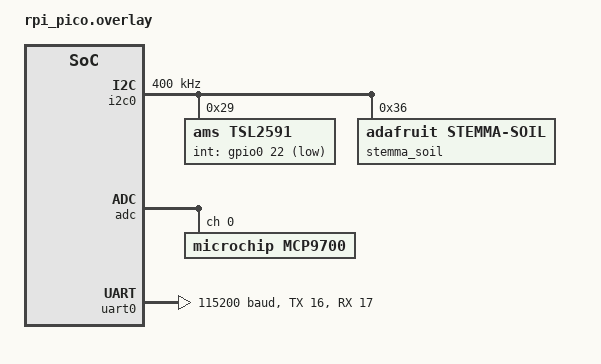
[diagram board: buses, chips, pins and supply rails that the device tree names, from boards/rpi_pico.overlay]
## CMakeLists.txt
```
# SPDX-License-Identifier: Apache-2.0

cmake_minimum_required(VERSION 3.20.0)

find_package(Zephyr REQUIRED HINTS $ENV{ZEPHYR_BASE})
project(sensor_node)

target_sources(app PRIVATE
  src/main.c
  src/mcp9700.c
)

target_include_directories(app PRIVATE src)
```

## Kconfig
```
# Kconfig - Smart Gardening System Sensor Node configuration

# Copyright (c) 2022 Smart Gardening System Project
# SPDX-License-Identifier: Apache-2.0

mainmenu "Smart Gardening System Sensor Node Configuration"

menu "Sensor Configuration"

config SENSOR_NODE_LIGHT_THRESHOLD_LOW
	int "Default light low threshold (in lux x 100)"
	default 5000
	help
	  Default low threshold for light sensor in lux x 100.
	  This threshold triggers a low light interrupt if the measured
	  value falls below it.

config SENSOR_NODE_LIGHT_THRESHOLD_HIGH
	int "Default light high threshold (in lux x 100)"
	default 50000
	help
	  Default high threshold for light sensor in lux x 100.
	  This threshold triggers a high light interrupt if the measured
	  value rises above it.

config SENSOR_NODE_TEMP_THRESHOLD_HIGH
	int "Default temperature high threshold (in Celsius x 100)"
	default 3000
	help
	  Default high threshold for temperature sensor in Celsius x 100.
	  This threshold triggers a high temperature interrupt if the measured
	  value rises above it.

config SENSOR_NODE_SOIL_THRESHOLD_LOW
	int "Default soil moisture low threshold (in percent x 100)"
	default 30000
	help
	  Default low threshold for soil moisture sensor in percent x 100.
	  This threshold triggers a low soil moisture interrupt if the measured
	  value falls below it.

config SENSOR_NODE_LIGHT_SAMPLING_PERIOD
	int "Light sensor sampling period (in milliseconds)"
	default 5000
	help
	  Period in milliseconds between consecutive light sensor readings.

config SENSOR_NODE_TEMP_SAMPLING_PERIOD
	int "Temperature sensor sampling period (in milliseconds)"
	default 2000
	help
	  Period in milliseconds between consecutive temperature sensor readings.

config SENSOR_NODE_SOIL_SAMPLING_PERIOD
	int "Soil moisture sensor sampling period (in milliseconds)"
	default 10000
	help
	  Period in milliseconds between consecutive soil moisture sensor readings.

endmenu

menu "Communication Configuration"

config SENSOR_NODE_UART_BAUDRATE
	int "UART baudrate"
	default 115200
	help
	  UART baudrate for communication with the base node.

endmenu

source "Kconfig.zephyr"
```

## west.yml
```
manifest:
  remotes:
    - name: zephyrproject-rtos
      url-base: https://github.com/zephyrproject-rtos

  projects:
    - name: zephyr
      remote: zephyrproject-rtos
      revision: main
      import: true

  self:
    path: sensor_node_zephyr
```

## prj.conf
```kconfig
# Enable peripherals
CONFIG_I2C=y
CONFIG_ADC=y
CONFIG_UART=y
CONFIG_UART_INTERRUPT_DRIVEN=y
CONFIG_SERIAL=y
CONFIG_CONSOLE=y
CONFIG_GPIO=y

# Enable logging
CONFIG_LOG=y
CONFIG_LOG_DEFAULT_LEVEL=3

# Enable multithreading
CONFIG_MULTITHREADING=y
CONFIG_NUM_PREEMPT_PRIORITIES=16

# Enable floating point
CONFIG_FPU=y

# Increase main stack size
CONFIG_MAIN_STACK_SIZE=2048

# Sensor configurations
CONFIG_SENSOR=y
```

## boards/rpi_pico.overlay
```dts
/*
 * Copyright (c) 2022 Smart Gardening System Project
 *
 * SPDX-License-Identifier: Apache-2.0
 */

/ {
    aliases {
        i2c0 = &i2c0;
        adc0 = &adc;
        uart0 = &uart0;
    };
};

&i2c0 {
    status = "okay";
    clock-frequency = <400000>;

    tsl2591: tsl2591@29 {
        compatible = "ams,tsl2591";
        reg = <0x29>;
        int-gpios = <&gpio0 22 GPIO_ACTIVE_LOW>;
    };

    stemma_soil: stemma_soil@36 {
        compatible = "adafruit,stemma-soil";
        reg = <0x36>;
    };
};

&adc {
    status = "okay";
    #address-cells = <1>;
    #size-cells = <0>;

    mcp9700: mcp9700@0 {
        compatible = "microchip,mcp9700";
        reg = <0>;
        #io-channel-cells = <1>;
    };
};

&uart0 {
    status = "okay";
    current-speed = <115200>;
    rx-pin = <17>;
    tx-pin = <16>;
};
```

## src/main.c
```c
/**
 * @file main.c
 * @brief Simplified version of main application for sensor node using Zephyr RTOS
 *        Only focusing on the temperature sensor for now
 */

#include <zephyr/kernel.h>
#include <zephyr/device.h>
#include <zephyr/drivers/adc.h>
#include <zephyr/drivers/uart.h>
#include <zephyr/console/console.h>
#include <zephyr/logging/log.h>

#include "mcp9700.h"

LOG_MODULE_REGISTER(main, CONFIG_LOG_DEFAULT_LEVEL);

/* Define device tree labels for peripherals */
#define ADC_DEV_NODE        DT_ALIAS(adc0)
#define UART_DEV_NODE       DT_ALIAS(uart0)

/* Temperature sensor ADC channel */
#define TEMP_ADC_CHANNEL    0

/* Sensor sampling periods in milliseconds */
#define TEMP_SAMPLING_PERIOD_MS       2000

/* Device handles */
static const struct device *adc_dev;
static const struct device *uart_dev;

/**
 * @brief Main function
 */
int main(void) {
    int ret;
    float temperature;
    int32_t scaled_temp;
    
    LOG_INF("Smart Gardening System - Simplified Sensor Node starting...");
    printk("Smart Gardening System - Simplified Sensor Node\n");
    
    // Initialize console for output
    console_init();
    
    // Get device handles from device tree
    adc_dev = DEVICE_DT_GET(ADC_DEV_NODE);
    
    // Initialize peripherals
    if (!device_is_ready(adc_dev)) {
        LOG_ERR("ADC device not ready");
        printk("ERROR: ADC device not ready\n");
        return -1;
    }
    
    // Initialize temperature sensor
    if (!mcp9700_init(adc_dev, TEMP_ADC_CHANNEL)) {
        LOG_ERR("Failed to initialize MCP9700 temperature sensor");
        printk("ERROR: Failed to initialize temperature sensor\n");
        return -1;
    }
    
    LOG_INF("Temperature sensor initialized successfully");
    printk("Temperature sensor initialized successfully\n");
    
    // Main loop - read temperature and print to console
    while (1) {
        // Read temperature sensor
        temperature = mcp9700_read_temperature();
        scaled_temp = (int32_t)(temperature * 100);
        
        LOG_INF("Temperature: %d.%02d°C", scaled_temp / 100, scaled_temp % 100);
        printk("Temperature: %d.%02d°C\n", scaled_temp / 100, scaled_temp % 100);
        
        // Wait for next sampling period
        k_msleep(TEMP_SAMPLING_PERIOD_MS);
    }
    
    return 0;
}
```

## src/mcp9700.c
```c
/**
 * @file mcp9700.c
 * @brief Driver implementation for MCP9700 temperature sensor
 */
#include "mcp9700.h"
#include <zephyr/kernel.h>
#include <zephyr/logging/log.h>
#include <string.h>

LOG_MODULE_REGISTER(mcp9700, CONFIG_LOG_DEFAULT_LEVEL);

// MCP9700 has a 10mV/°C output with a 500mV offset at 0°C
#define MCP9700_TEMP_COEF_MV 10.0f
#define MCP9700_OFFSET_MV    500.0f

// Static variables
static const struct device *adc_device = NULL;
static uint8_t adc_channel = 0;
static struct adc_channel_cfg channel_cfg;
static struct adc_sequence sequence;
static uint16_t sample_buffer;

/**
 * @brief Initialize the MCP9700 temperature sensor
 * 
 * @param adc_dev ADC device
 * @param channel ADC channel
 * @return true if initialization successful, false otherwise
 */
bool mcp9700_init(const struct device *adc_dev, uint8_t channel) {
    adc_device = adc_dev;
    adc_channel = channel;
    
    if (!device_is_ready(adc_device)) {
        LOG_ERR("MCP9700: ADC device not ready");
        return false;
    }
    
    // Configure ADC channel
    memset(&channel_cfg, 0, sizeof(channel_cfg));
    
    // Use 12-bit ADC for Raspberry Pi Pico
    channel_cfg.gain = ADC_GAIN_1;
    channel_cfg.reference = ADC_REF_INTERNAL;
    channel_cfg.acquisition_time = ADC_ACQ_TIME_DEFAULT;
    channel_cfg.channel_id = adc_channel;
    channel_cfg.differential = false;
    
    if (adc_channel_setup(adc_device, &channel_cfg) < 0) {
        LOG_ERR("MCP9700: Failed to setup ADC channel");
        return false;
    }
    
    // Configure ADC sequence
    memset(&sequence, 0, sizeof(sequence));
    sequence.channels = BIT(adc_channel);
    sequence.buffer = &sample_buffer;
    sequence.buffer_size = sizeof(sample_buffer);
    sequence.resolution = 12;
    sequence.oversampling = 0;
    sequence.calibrate = false;
    
    LOG_INF("MCP9700: Initialized successfully");
    return true;
}

/**
 * @brief Read temperature from the MCP9700 sensor
 * 
 * @return float Temperature in Celsius
 */
float mcp9700_read_temperature(void) {
    int ret;
    float voltage_mv, temperature;
    
    ret = adc_read(adc_device, &sequence);
    if (ret < 0) {
        LOG_ERR("MCP9700: Failed to read ADC: %d", ret);
        return -273.15f; // Absolute zero error value
    }
    
    // Convert ADC reading to voltage in millivolts
    // For 12-bit ADC, max value is 4095 for Vref (3.3V typical for Pico)
    // Formula: voltage_mv = (sample_value * 3300) / 4095
    voltage_mv = ((float)sample_buffer * 3300.0f) / 4095.0f;
    
    // Convert voltage to temperature
    // Formula: temperature = (voltage_mv - 500) / 10.0
    temperature = (voltage_mv - MCP9700_OFFSET_MV) / MCP9700_TEMP_COEF_MV;
    
    LOG_DBG("MCP9700: ADC=%u, Voltage=%0.2fmV, Temperature=%0.2f°C", 
            sample_buffer, voltage_mv, temperature);
    
    return temperature;
}
```

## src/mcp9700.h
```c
/**
 * @file mcp9700.h
 * @brief Driver interface for MCP9700 temperature sensor
 */

#ifndef MCP9700_H
#define MCP9700_H

#include <zephyr/device.h>
#include <zephyr/drivers/adc.h>
#include <stdbool.h>
#include <stdint.h>

/**
 * @brief Initialize the MCP9700 temperature sensor
 * 
 * @param adc_dev ADC device
 * @param channel ADC channel
 * @return true if initialization successful, false otherwise
 */
bool mcp9700_init(const struct device *adc_dev, uint8_t channel);

/**
 * @brief Read temperature from the MCP9700 sensor
 * 
 * @return float Temperature in Celsius
 */
float mcp9700_read_temperature(void);

#endif /* MCP9700_H */
```

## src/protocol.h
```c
/**
 * @file protocol.h
 * @brief Common protocol definitions for communication between sensor node and base node
 */

#ifndef PROTOCOL_H
#define PROTOCOL_H

#include <stdint.h>

/**
 * @brief Message types for communication protocol
 */
enum message_type {
    MSG_SENSOR_DATA = 0x01,      // Regular sensor data message
    MSG_CONFIG_REQUEST = 0x02,   // Configuration request from base to sensor
    MSG_CONFIG_RESPONSE = 0x03,  // Configuration response from sensor to base
    MSG_INTERRUPT = 0x04,        // Interrupt notification from sensor to base
    MSG_ACK = 0x05,              // Acknowledgment message
    MSG_ERROR = 0xFF,            // Error message
};

/**
 * @brief Sensor types
 */
enum sensor_type {
    SENSOR_LIGHT = 0x01,
    SENSOR_TEMPERATURE = 0x02,
    SENSOR_SOIL_MOISTURE = 0x03,
};

/**
 * @brief Interrupt types
 */
enum interrupt_type {
    INT_HIGH_TEMPERATURE = 0x01,
    INT_LOW_SOIL_MOISTURE = 0x02,
    INT_LOW_LIGHT = 0x03,
    INT_HIGH_LIGHT = 0x04,
};

/**
 * @brief Error codes
 */
enum error_code {
    ERR_SENSOR_FAIL = 0x01,
    ERR_COMMUNICATION = 0x02,
    ERR_INVALID_CONFIG = 0x03,
    ERR_UNKNOWN = 0xFF,
};

/**
 * @brief Configuration parameters
 */
enum config_param {
    CONFIG_TEMP_HIGH_THRESHOLD = 0x01,   // High temperature threshold
    CONFIG_SOIL_LOW_THRESHOLD = 0x02,    // Low soil moisture threshold
    CONFIG_LIGHT_LOW_THRESHOLD = 0x03,   // Low light threshold
    CONFIG_LIGHT_HIGH_THRESHOLD = 0x04,  // High light threshold
    CONFIG_SAMPLING_RATE = 0x05,         // Sampling rate in milliseconds
    CONFIG_INT_ENABLE = 0x06,            // Interrupt enable flags
};

/**
 * @brief Message header structure
 */
typedef struct __attribute__((packed)) {
    uint8_t start_byte;          // Always 0xAA
    uint8_t message_type;        // Type of message (enum message_type)
    uint8_t length;              // Length of payload
    uint8_t sequence;            // Sequence number
} message_header_t;

/**
 * @brief Sensor data payload structure
 */
typedef struct __attribute__((packed)) {
    uint32_t timestamp;          // Timestamp in milliseconds
    uint8_t sensor_type;         // Type of sensor (enum sensor_type)
    int32_t value;               // Sensor value (scaled by 100 for floating point)
} sensor_data_t;

/**
 * @brief Configuration request/response payload structure
 */
typedef struct __attribute__((packed)) {
    uint8_t param;               // Parameter to configure (enum config_param)
    int32_t value;               // Parameter value
} config_data_t;

/**
 * @brief Interrupt notification payload structure
 */
typedef struct __attribute__((packed)) {
    uint32_t timestamp;          // Timestamp in milliseconds
    uint8_t interrupt_type;      // Type of interrupt (enum interrupt_type)
    int32_t value;               // Value that triggered the interrupt
    int32_t threshold;           // Threshold that was crossed
} interrupt_data_t;

/**
 * @brief Error message payload structure
 */
typedef struct __attribute__((packed)) {
    uint8_t error_code;          // Error code (enum error_code)
    uint8_t source;              // Source of error (0 = sensor node, 1 = base node)
    uint8_t context;             // Context-specific data
} error_data_t;

/**
 * @brief Complete message structure
 */
typedef struct __attribute__((packed)) {
    message_header_t header;     // Message header
    union {
        sensor_data_t sensor;
        config_data_t config;
        interrupt_data_t interrupt;
        error_data_t error;
        uint8_t raw[32];         // Raw payload data
    } payload;
    uint8_t checksum;            // Sum of all bytes in header and payload
} message_t;

#define PROTOCOL_START_BYTE 0xAA
#define MAX_MESSAGE_SIZE 40      // Maximum message size in bytes

#endif /* PROTOCOL_H */
```

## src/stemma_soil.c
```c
/**
 * @file stemma_soil.c
 * @brief Driver implementation for Adafruit STEMMA Soil Moisture Sensor
 */
#include "stemma_soil.h"
#include <zephyr/kernel.h>
#include <zephyr/logging/log.h>
#include <string.h>

LOG_MODULE_REGISTER(stemma_soil, CONFIG_LOG_DEFAULT_LEVEL);

// Static variables
static const struct device *i2c_dev = NULL;
static uint8_t soil_addr = STEMMA_SOIL_I2C_ADDR;

/**
 * @brief Write data to a STEMMA Soil register
 * 
 * @param reg_base Register base address
 * @param reg_addr Register offset
 * @param buf Data buffer to write
 * @param len Length of data buffer
 * @return true if successful, false otherwise
 */
static bool stemma_soil_write(uint8_t reg_base, uint8_t reg_addr, const uint8_t *buf, uint8_t len) {
    uint8_t *buffer = k_malloc(len + 2);
    if (!buffer) {
        LOG_ERR("STEMMA Soil: Failed to allocate memory");
        return false;
    }
    
    buffer[0] = reg_base;
    buffer[1] = reg_addr;
    memcpy(buffer + 2, buf, len);
    
    int result = i2c_write(i2c_dev, buffer, len + 2, soil_addr);
    k_free(buffer);
    
    return result == 0;
}

/**
 * @brief Read data from a STEMMA Soil register
 * 
 * @param reg_base Register base address
 * @param reg_addr Register offset
 * @param buf Buffer to store read data
 * @param len Length of data to read
 * @return true if successful, false otherwise
 */
static bool stemma_soil_read(uint8_t reg_base, uint8_t reg_addr, uint8_t *buf, uint8_t len) {
    uint8_t reg[2] = {reg_base, reg_addr};
    
    if (i2c_write(i2c_dev, reg, 2, soil_addr) != 0) {
        LOG_ERR("STEMMA Soil: Failed to write registers");
        return false;
    }
    
    // Delay to give the sensor time to process
    k_msleep(5);
    
    if (i2c_read(i2c_dev, buf, len, soil_addr) != 0) {
        LOG_ERR("STEMMA Soil: Failed to read data");
        return false;
    }
    
    return true;
}

/**
 * @brief Initialize the STEMMA Soil sensor
 * 
 * @param i2c_bus I2C device
 * @return true if initialization successful, false otherwise
 */
bool stemma_soil_init(const struct device *i2c_bus) {
    i2c_dev = i2c_bus;
    
    if (!device_is_ready(i2c_dev)) {
        LOG_ERR("STEMMA Soil: I2C device not ready");
        return false;
    }
    
    // Check if sensor is connected by reading a register
    uint8_t data[4];
    if (!stemma_soil_read(SEESAW_STATUS_BASE, SEESAW_STATUS_TEMP, data, 4)) {
        LOG_ERR("STEMMA Soil: Failed to communicate with sensor");
        return false;
    }
    
    LOG_INF("STEMMA Soil: Initialized successfully");
    return true;
}

/**
 * @brief Get moisture level from the sensor
 * 
 * @return uint16_t Moisture level (0-1023)
 */
uint16_t stemma_soil_get_moisture(void) {
    uint8_t data[2];
    
    if (!stemma_soil_read(SEESAW_TOUCH_BASE, SEESAW_TOUCH_CHANNEL_OFFSET, data, 2)) {
        LOG_ERR("STEMMA Soil: Failed to read moisture");
        return 0;
    }
    
    // Convert big-endian to little-endian
    uint16_t moisture = (data[0] << 8) | data[1];
    LOG_DBG("STEMMA Soil: Moisture=%d", moisture);
    
    return moisture;
}

/**
 * @brief Get temperature from the sensor
 * 
 * @return float Temperature in Celsius
 */
float stemma_soil_get_temperature(void) {
    uint8_t data[4];
    
    if (!stemma_soil_read(SEESAW_STATUS_BASE, SEESAW_STATUS_TEMP, data, 4)) {
        LOG_ERR("STEMMA Soil: Failed to read temperature");
        return 0.0f;
    }
    
    // Convert big-endian to little-endian and scale (temperature is in 0.01 degrees C)
    uint32_t temp = ((uint32_t)data[0] << 24) | ((uint32_t)data[1] << 16) |
                    ((uint32_t)data[2] << 8) | data[3];
    
    float temperature = temp / 100.0f;
    LOG_DBG("STEMMA Soil: Temperature=%0.2f C", temperature);
    
    return temperature;
}

/**
 * @brief Set a new I2C address for the sensor
 * 
 * @param new_addr New I2C address (0x01-0x7F)
 * @return true if successful, false otherwise
 */
bool stemma_soil_set_address(uint8_t new_addr) {
    if (new_addr < 0x08 || new_addr > 0x77) {
        // Invalid I2C address
        LOG_ERR("STEMMA Soil: Invalid I2C address 0x%02X", new_addr);
        return false;
    }
    
    uint8_t addr_data[1] = {new_addr};
    if (!stemma_soil_write(0x00, 0x00, addr_data, 1)) {
        LOG_ERR("STEMMA Soil: Failed to set new address");
        return false;
    }
    
    // Update stored address
    soil_addr = new_addr;
    LOG_INF("STEMMA Soil: Address changed to 0x%02X", new_addr);
    return true;
}
```

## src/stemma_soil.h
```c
/**
 * @file stemma_soil.h
 * @brief Driver interface for Adafruit STEMMA Soil Moisture Sensor
 */

#ifndef STEMMA_SOIL_H
#define STEMMA_SOIL_H

#include <zephyr/device.h>
#include <zephyr/drivers/i2c.h>
#include <stdbool.h>
#include <stdint.h>

// Default I2C address for the STEMMA Soil sensor
#define STEMMA_SOIL_I2C_ADDR 0x36

// SeeSaw register base addresses
#define SEESAW_STATUS_BASE 0x00
#define SEESAW_TOUCH_BASE 0x0F

// Register addresses
#define SEESAW_STATUS_TEMP 0x04
#define SEESAW_TOUCH_CHANNEL_OFFSET 0x10

/**
 * @brief Initialize the STEMMA Soil sensor
 * 
 * @param i2c_bus I2C device
 * @return true if initialization successful, false otherwise
 */
bool stemma_soil_init(const struct device *i2c_bus);

/**
 * @brief Get moisture level from the sensor
 * 
 * @return uint16_t Moisture level (0-1023)
 */
uint16_t stemma_soil_get_moisture(void);

/**
 * @brief Get temperature from the sensor
 * 
 * @return float Temperature in Celsius
 */
float stemma_soil_get_temperature(void);

/**
 * @brief Set a new I2C address for the sensor
 * 
 * @param new_addr New I2C address (0x01-0x7F)
 * @return true if successful, false otherwise
 */
bool stemma_soil_set_address(uint8_t new_addr);

#endif /* STEMMA_SOIL_H */
```

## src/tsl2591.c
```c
/**
 * @file tsl2591.c
 * @brief Driver implementation for AMS TSL2591 light sensor
 */
#include "tsl2591.h"
#include <zephyr/kernel.h>
#include <zephyr/logging/log.h>
#include <string.h>
#include <math.h>

LOG_MODULE_REGISTER(tsl2591, CONFIG_LOG_DEFAULT_LEVEL);

// Static variables
static const struct device *i2c_dev = NULL;
static tsl2591_gain_t current_gain = TSL2591_GAIN_MED;
static tsl2591_integration_time_t current_integration_time = TSL2591_INTEGRATIONTIME_300MS;

// Conversion helpers for integration time
static const uint16_t integration_time_ms[] = {
    100,  // TSL2591_INTEGRATIONTIME_100MS
    200,  // TSL2591_INTEGRATIONTIME_200MS
    300,  // TSL2591_INTEGRATIONTIME_300MS
    400,  // TSL2591_INTEGRATIONTIME_400MS
    500,  // TSL2591_INTEGRATIONTIME_500MS
    600,  // TSL2591_INTEGRATIONTIME_600MS
};

/**
 * @brief Write to a TSL2591 register
 * 
 * @param reg Register to write to
 * @param value Value to write
 * @return true if successful, false otherwise
 */
static bool tsl2591_write_reg(uint8_t reg, uint8_t value) {
    uint8_t data[2];
    data[0] = TSL2591_COMMAND_BIT | reg;
    data[1] = value;
    
    return i2c_write(i2c_dev, data, 2, TSL2591_I2C_ADDR) == 0;
}

/**
 * @brief Read from a TSL2591 register
 * 
 * @param reg Register to read from
 * @param value Pointer to store the read value
 * @return true if successful, false otherwise
 */
static bool tsl2591_read_reg(uint8_t reg, uint8_t *value) {
    uint8_t cmd = TSL2591_COMMAND_BIT | reg;
    
    if (i2c_write(i2c_dev, &cmd, 1, TSL2591_I2C_ADDR) != 0) {
        return false;
    }
    
    if (i2c_read(i2c_dev, value, 1, TSL2591_I2C_ADDR) != 0) {
        return false;
    }
    
    return true;
}

/**
 * @brief Initialize the TSL2591 light sensor
 * 
 * @param i2c_bus I2C device
 * @return true if initialization successful, false otherwise
 */
bool tsl2591_init(const struct device *i2c_bus) {
    i2c_dev = i2c_bus;
    
    if (!device_is_ready(i2c_dev)) {
        LOG_ERR("TSL2591: I2C device not ready");
        return false;
    }
    
    // Check sensor ID
    uint8_t id;
    if (!tsl2591_read_reg(TSL2591_REGISTER_ID, &id)) {
        LOG_ERR("TSL2591: Failed to read sensor ID");
        return false;
    }
    
    // Expected ID is 0x50
    if (id != 0x50) {
        LOG_ERR("TSL2591: Unexpected sensor ID: 0x%02X", id);
        return false;
    }
    
    // Disable the sensor initially
    if (!tsl2591_disable()) {
        LOG_ERR("TSL2591: Failed to disable sensor");
        return false;
    }
    
    // Set default gain and integration time
    if (!tsl2591_set_gain(current_gain)) {
        LOG_ERR("TSL2591: Failed to set gain");
        return false;
    }
    
    if (!tsl2591_set_integration_time(current_integration_time)) {
        LOG_ERR("TSL2591: Failed to set integration time");
        return false;
    }
    
    LOG_INF("TSL2591: Initialized successfully");
    return true;
}

/**
 * @brief Set the gain for the TSL2591 sensor
 * 
 * @param gain Gain setting to use
 * @return true if successful, false otherwise
 */
bool tsl2591_set_gain(tsl2591_gain_t gain) {
    // Read current control register value
    uint8_t ctrl_reg;
    if (!tsl2591_read_reg(TSL2591_REGISTER_CONTROL, &ctrl_reg)) {
        LOG_ERR("TSL2591: Failed to read control register");
        return false;
    }
    
    // Clear gain bits and set new gain
    ctrl_reg &= 0xCF; // Clear bits 4-5
    ctrl_reg |= gain;
    
    // Write updated control register
    if (!tsl2591_write_reg(TSL2591_REGISTER_CONTROL, ctrl_reg)) {
        LOG_ERR("TSL2591: Failed to write control register");
        return false;
    }
    
    // Save current gain
    current_gain = gain;
    
    LOG_DBG("TSL2591: Gain set to 0x%02X", gain);
    return true;
}

/**
 * @brief Set the integration time for the TSL2591 sensor
 * 
 * @param integration_time Integration time setting to use
 * @return true if successful, false otherwise
 */
bool tsl2591_set_integration_time(tsl2591_integration_time_t integration_time) {
    // Read current control register value
    uint8_t ctrl_reg;
    if (!tsl2591_read_reg(TSL2591_REGISTER_CONTROL, &ctrl_reg)) {
        LOG_ERR("TSL2591: Failed to read control register");
        return false;
    }
    
    // Clear integration time bits and set new time
    ctrl_reg &= 0xF8; // Clear bits 0-2
    ctrl_reg |= integration_time;
    
    // Write updated control register
    if (!tsl2591_write_reg(TSL2591_REGISTER_CONTROL, ctrl_reg)) {
        LOG_ERR("TSL2591: Failed to write control register");
        return false;
    }
    
    // Save current integration time
    current_integration_time = integration_time;
    
    LOG_DBG("TSL2591: Integration time set to 0x%02X", integration_time);
    return true;
}

/**
 * @brief Enable the TSL2591 sensor
 * 
 * @return true if successful, false otherwise
 */
bool tsl2591_enable(void) {
    // Enable power and ADC
    uint8_t enable_cmd = TSL2591_ENABLE_POWERON | TSL2591_ENABLE_AEN;
    if (!tsl2591_write_reg(TSL2591_REGISTER_ENABLE, enable_cmd)) {
        LOG_ERR("TSL2591: Failed to enable sensor");
        return false;
    }
    
    return true;
}

/**
 * @brief Disable the TSL2591 sensor
 * 
 * @return true if successful, false otherwise
 */
bool tsl2591_disable(void) {
    // Disable all features
    if (!tsl2591_write_reg(TSL2591_REGISTER_ENABLE, 0x00)) {
        LOG_ERR("TSL2591: Failed to disable sensor");
        return false;
    }
    
    return true;
}

/**
 * @brief Read the full luminosity (visible + IR) from the sensor
 * 
 * @param full Pointer to store the full spectrum reading
 * @param ir Pointer to store the infrared reading
 * @return true if reading successful, false otherwise
 */
bool tsl2591_get_full_luminosity(uint16_t *full, uint16_t *ir) {
    // Enable the sensor
    if (!tsl2591_enable()) {
        LOG_ERR("TSL2591: Failed to enable sensor for reading");
        return false;
    }
    
    // Wait for integration to complete
    k_msleep(tsl2591_get_integration_time_ms() + 10);
    
    // Read the channels
    uint8_t chan0_low, chan0_high, chan1_low, chan1_high;
    
    if (!tsl2591_read_reg(TSL2591_REGISTER_CHAN0_L, &chan0_low) ||
        !tsl2591_read_reg(TSL2591_REGISTER_CHAN0_H, &chan0_high) ||
        !tsl2591_read_reg(TSL2591_REGISTER_CHAN1_L, &chan1_low) ||
        !tsl2591_read_reg(TSL2591_REGISTER_CHAN1_H, &chan1_high)) {
        LOG_ERR("TSL2591: Failed to read channels");
        return false;
    }
    
    // Disable the sensor
    if (!tsl2591_disable()) {
        LOG_ERR("TSL2591: Failed to disable sensor after reading");
        return false;
    }
    
    // Calculate channel values
    uint16_t channel0 = (chan0_high << 8) | chan0_low;
    uint16_t channel1 = (chan1_high << 8) | chan1_low;
    
    // Channel 0 = Visible + IR, Channel 1 = IR only
    *full = channel0;
    *ir = channel1;
    
    LOG_DBG("TSL2591: Full spectrum: %u, IR: %u", *full, *ir);
    return true;
}

/**
 * @brief Calculate lux based on sensor readings
 * 
 * @param full_spectrum Full spectrum reading
 * @param ir_spectrum Infrared reading
 * @return float Calculated lux value
 */
float tsl2591_calculate_lux(uint16_t full_spectrum, uint16_t ir_spectrum) {
    // Get the current integration time in ms
    uint16_t integration_time_val = tsl2591_get_integration_time_ms();
    
    // Calculate gain factor
    float gain_val;
    switch (current_gain) {
        case TSL2591_GAIN_LOW:
            gain_val = 1.0f;
            break;
        case TSL2591_GAIN_MED:
            gain_val = 25.0f;
            break;
        case TSL2591_GAIN_HIGH:
            gain_val = 428.0f;
            break;
        case TSL2591_GAIN_MAX:
            gain_val = 9876.0f;
            break;
        default:
            gain_val = 1.0f;
            break;
    }
    
    // Check if either sensor is saturated
    if ((full_spectrum == 0xFFFF) || (ir_spectrum == 0xFFFF)) {
        // Sensor is saturated, reduce the gain or integration time
        LOG_WRN("TSL2591: Sensor saturated");
        return 0.0f;
    }
    
    // Avoid division by zero
    if (full_spectrum == 0) {
        return 0.0f;
    }
    
    // Visible light calculation
    float atime, again;
    float cpl, lux;
    
    // Integration time factor (atime) = integration_time_ms / 100
    atime = integration_time_val / 100.0f;
    
    // Gain factor (again) is already calculated above as gain_val
    again = gain_val;
    
    // Calculate counts per lux (cpl)
    cpl = (atime * again) / 408.0f;
    
    // Calculate lux using the formula from the datasheet
    lux = ((float)full_spectrum - (float)ir_spectrum) / cpl;
    
    // Ensure lux is not negative
    if (lux < 0) {
        lux = 0;
    }
    
    return lux;
}

/**
 * @brief Get integration time in milliseconds
 * 
 * @return uint16_t Integration time in milliseconds
 */
uint16_t tsl2591_get_integration_time_ms(void) {
    // Map the integration time enum to actual milliseconds
    if (current_integration_time <= TSL2591_INTEGRATIONTIME_600MS) {
        return integration_time_ms[current_integration_time];
    } else {
        return integration_time_ms[0]; // Default to 100ms
    }
}
```

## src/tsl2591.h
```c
/**
 * @file tsl2591.h
 * @brief Driver interface for AMS TSL2591 light sensor
 */

#ifndef TSL2591_H
#define TSL2591_H

#include <zephyr/device.h>
#include <zephyr/drivers/i2c.h>
#include <stdbool.h>
#include <stdint.h>

// Default I2C address for the TSL2591 sensor
#define TSL2591_I2C_ADDR 0x29

// Command register constants
#define TSL2591_COMMAND_BIT      0xA0
#define TSL2591_CLEAR_INT        0xE6
#define TSL2591_REGISTER_ENABLE  0x00
#define TSL2591_REGISTER_CONTROL 0x01
#define TSL2591_REGISTER_ID      0x12
#define TSL2591_REGISTER_STATUS  0x13
#define TSL2591_REGISTER_CHAN0_L 0x14
#define TSL2591_REGISTER_CHAN0_H 0x15
#define TSL2591_REGISTER_CHAN1_L 0x16
#define TSL2591_REGISTER_CHAN1_H 0x17

// Enable register constants
#define TSL2591_ENABLE_POWERON   0x01
#define TSL2591_ENABLE_AEN       0x02
#define TSL2591_ENABLE_AIEN      0x10
#define TSL2591_ENABLE_NPIEN     0x80

// Control register constants
#define TSL2591_GAIN_LOW         0x00  // Low gain (1x)
#define TSL2591_GAIN_MED         0x10  // Medium gain (25x)
#define TSL2591_GAIN_HIGH        0x20  // High gain (428x)
#define TSL2591_GAIN_MAX         0x30  // Maximum gain (9876x)

#define TSL2591_INTEGRATIONTIME_100MS  0x00
#define TSL2591_INTEGRATIONTIME_200MS  0x01
#define TSL2591_INTEGRATIONTIME_300MS  0x02
#define TSL2591_INTEGRATIONTIME_400MS  0x03
#define TSL2591_INTEGRATIONTIME_500MS  0x04
#define TSL2591_INTEGRATIONTIME_600MS  0x05

// TSL2591 gain and integration time settings
typedef enum {
    TSL2591_GAIN_1X = TSL2591_GAIN_LOW,
    TSL2591_GAIN_25X = TSL2591_GAIN_MED,
    TSL2591_GAIN_428X = TSL2591_GAIN_HIGH,
    TSL2591_GAIN_9876X = TSL2591_GAIN_MAX
} tsl2591_gain_t;

typedef enum {
    TSL2591_INTEGRATIONTIME_100MS = TSL2591_INTEGRATIONTIME_100MS,
    TSL2591_INTEGRATIONTIME_200MS = TSL2591_INTEGRATIONTIME_200MS,
    TSL2591_INTEGRATIONTIME_300MS = TSL2591_INTEGRATIONTIME_300MS,
    TSL2591_INTEGRATIONTIME_400MS = TSL2591_INTEGRATIONTIME_400MS,
    TSL2591_INTEGRATIONTIME_500MS = TSL2591_INTEGRATIONTIME_500MS,
    TSL2591_INTEGRATIONTIME_600MS = TSL2591_INTEGRATIONTIME_600MS
} tsl2591_integration_time_t;

/**
 * @brief Initialize the TSL2591 light sensor
 * 
 * @param i2c_bus I2C device
 * @return true if initialization successful, false otherwise
 */
bool tsl2591_init(const struct device *i2c_bus);

/**
 * @brief Set the gain for the TSL2591 sensor
 * 
 * @param gain Gain setting to use
 * @return true if successful, false otherwise
 */
bool tsl2591_set_gain(tsl2591_gain_t gain);

/**
 * @brief Set the integration time for the TSL2591 sensor
 * 
 * @param integration_time Integration time setting to use
 * @return true if successful, false otherwise
 */
bool tsl2591_set_integration_time(tsl2591_integration_time_t integration_time);

/**
 * @brief Enable the TSL2591 sensor
 * 
 * @return true if successful, false otherwise
 */
bool tsl2591_enable(void);

/**
 * @brief Disable the TSL2591 sensor
 * 
 * @return true if successful, false otherwise
 */
bool tsl2591_disable(void);

/**
 * @brief Read the full luminosity (visible + IR) from the sensor
 * 
 * @param full Pointer to store the full spectrum reading
 * @param ir Pointer to store the infrared reading
 * @return true if reading successful, false otherwise
 */
bool tsl2591_get_full_luminosity(uint16_t *full, uint16_t *ir);

/**
 * @brief Calculate lux based on sensor readings
 * 
 * @param full_spectrum Full spectrum reading
 * @param ir_spectrum Infrared reading
 * @return float Calculated lux value
 */
float tsl2591_calculate_lux(uint16_t full_spectrum, uint16_t ir_spectrum);

/**
 * @brief Get integration time in milliseconds
 * 
 * @return uint16_t Integration time in milliseconds
 */
uint16_t tsl2591_get_integration_time_ms(void);

#endif /* TSL2591_H */
```

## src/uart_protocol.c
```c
/**
 * @file uart_protocol.c
 * @brief UART communication protocol implementation for sensor node
 */
#include "uart_protocol.h"
#include <zephyr/kernel.h>
#include <zephyr/drivers/uart.h>
#include <zephyr/logging/log.h>
#include <string.h>

LOG_MODULE_REGISTER(uart_proto, CONFIG_LOG_DEFAULT_LEVEL);

// Static variables
static const struct device *uart_device = NULL;
static message_t tx_message;
static message_t rx_message;
static uint8_t rx_buffer[MAX_MESSAGE_SIZE];
static uint8_t rx_pos = 0;
static uint8_t sequence_number = 0;
static void (*config_callback)(uint8_t param, int32_t value) = NULL;

// UART interrupt callback function
static void uart_cb(const struct device *dev, void *user_data);

/**
 * @brief Calculate checksum for a message
 * 
 * @param msg Pointer to message
 * @return uint8_t Calculated checksum
 */
static uint8_t calculate_checksum(const message_t *msg) {
    uint8_t sum = 0;
    const uint8_t *ptr = (const uint8_t *)msg;
    uint8_t length = sizeof(message_header_t) + msg->header.length;
    
    for (uint8_t i = 0; i < length; i++) {
        sum += ptr[i];
    }
    
    return sum;
}

/**
 * @brief Initialize UART protocol
 * 
 * @param uart_dev UART device to use
 * @return true if initialized successfully, false otherwise
 */
bool uart_protocol_init(const struct device *uart_dev) {
    uart_device = uart_dev;
    
    if (!device_is_ready(uart_device)) {
        LOG_ERR("UART device not ready");
        return false;
    }
    
    // Set up UART callback
    uart_irq_callback_set(uart_device, uart_cb);
    
    // Enable UART receive interrupts
    uart_irq_rx_enable(uart_device);
    
    LOG_INF("UART protocol initialized");
    return true;
}

/**
 * @brief Send a message over UART
 * 
 * @param msg Message to send
 * @return true if sent successfully, false otherwise
 */
static bool send_message(const message_t *msg) {
    uint8_t length = sizeof(message_header_t) + msg->header.length + 1; // +1 for checksum
    const uint8_t *data = (const uint8_t *)msg;
    
    for (uint8_t i = 0; i < length; i++) {
        if (uart_poll_out(uart_device, data[i]) < 0) {
            LOG_ERR("Failed to send byte over UART");
            return false;
        }
    }
    
    return true;
}

/**
 * @brief Send sensor data over UART
 * 
 * @param sensor_type Type of sensor (SENSOR_LIGHT, SENSOR_TEMPERATURE, etc.)
 * @param value Sensor value (scaled by 100 for floating point values)
 * @return true if sent successfully, false otherwise
 */
bool uart_protocol_send_sensor_data(uint8_t sensor_type, int32_t value) {
    // Fill header
    tx_message.header.start_byte = PROTOCOL_START_BYTE;
    tx_message.header.message_type = MSG_SENSOR_DATA;
    tx_message.header.length = sizeof(sensor_data_t);
    tx_message.header.sequence = sequence_number++;
    
    // Fill payload
    tx_message.payload.sensor.timestamp = k_uptime_get_32();
    tx_message.payload.sensor.sensor_type = sensor_type;
    tx_message.payload.sensor.value = value;
    
    // Calculate and add checksum
    tx_message.payload.raw[tx_message.header.length] = calculate_checksum(&tx_message);
    
    // Send message
    return send_message(&tx_message);
}

/**
 * @brief Send interrupt notification over UART
 * 
 * @param interrupt_type Type of interrupt (INT_HIGH_TEMPERATURE, etc.)
 * @param value Current value that triggered the interrupt
 * @param threshold Threshold that was crossed
 * @return true if sent successfully, false otherwise
 */
bool uart_protocol_send_interrupt(uint8_t interrupt_type, int32_t value, int32_t threshold) {
    // Fill header
    tx_message.header.start_byte = PROTOCOL_START_BYTE;
    tx_message.header.message_type = MSG_INTERRUPT;
    tx_message.header.length = sizeof(interrupt_data_t);
    tx_message.header.sequence = sequence_number++;
    
    // Fill payload
    tx_message.payload.interrupt.timestamp = k_uptime_get_32();
    tx_message.payload.interrupt.interrupt_type = interrupt_type;
    tx_message.payload.interrupt.value = value;
    tx_message.payload.interrupt.threshold = threshold;
    
    // Calculate and add checksum
    tx_message.payload.raw[tx_message.header.length] = calculate_checksum(&tx_message);
    
    // Send message
    return send_message(&tx_message);
}

/**
 * @brief Send error message over UART
 * 
 * @param error_code Error code to send
 * @param context Context-specific data
 * @return true if sent successfully, false otherwise
 */
bool uart_protocol_send_error(uint8_t error_code, uint8_t context) {
    // Fill header
    tx_message.header.start_byte = PROTOCOL_START_BYTE;
    tx_message.header.message_type = MSG_ERROR;
    tx_message.header.length = sizeof(error_data_t);
    tx_message.header.sequence = sequence_number++;
    
    // Fill payload
    tx_message.payload.error.error_code = error_code;
    tx_message.payload.error.source = 0; // 0 = sensor node
    tx_message.payload.error.context = context;
    
    // Calculate and add checksum
    tx_message.payload.raw[tx_message.header.length] = calculate_checksum(&tx_message);
    
    // Send message
    return send_message(&tx_message);
}

/**
 * @brief Send configuration response over UART
 * 
 * @param param Parameter that was configured
 * @param value Value that was set
 * @return true if sent successfully, false otherwise
 */
static bool send_config_response(uint8_t param, int32_t value) {
    // Fill header
    tx_message.header.start_byte = PROTOCOL_START_BYTE;
    tx_message.header.message_type = MSG_CONFIG_RESPONSE;
    tx_message.header.length = sizeof(config_data_t);
    tx_message.header.sequence = sequence_number++;
    
    // Fill payload
    tx_message.payload.config.param = param;
    tx_message.payload.config.value = value;
    
    // Calculate and add checksum
    tx_message.payload.raw[tx_message.header.length] = calculate_checksum(&tx_message);
    
    // Send message
    return send_message(&tx_message);
}

/**
 * @brief Send acknowledgment message over UART
 * 
 * @param ack_sequence Sequence number to acknowledge
 * @return true if sent successfully, false otherwise
 */
static bool send_ack(uint8_t ack_sequence) {
    // Fill header
    tx_message.header.start_byte = PROTOCOL_START_BYTE;
    tx_message.header.message_type = MSG_ACK;
    tx_message.header.length = 1; // Just one byte for the sequence number
    tx_message.header.sequence = sequence_number++;
    
    // Fill payload
    tx_message.payload.raw[0] = ack_sequence;
    
    // Calculate and add checksum
    tx_message.payload.raw[tx_message.header.length] = calculate_checksum(&tx_message);
    
    // Send message
    return send_message(&tx_message);
}

/**
 * @brief Process a received message
 * 
 * @param msg Pointer to the received message
 */
static void process_message(const message_t *msg) {
    uint8_t calculated_checksum = calculate_checksum(msg);
    uint8_t received_checksum = msg->payload.raw[msg->header.length];
    
    // Verify checksum
    if (calculated_checksum != received_checksum) {
        LOG_ERR("Invalid checksum: calculated=0x%02X, received=0x%02X", 
                calculated_checksum, received_checksum);
        return;
    }
    
    // Process based on message type
    switch (msg->header.message_type) {
        case MSG_CONFIG_REQUEST:
            if (config_callback) {
                config_callback(msg->payload.config.param, msg->payload.config.value);
                send_config_response(msg->payload.config.param, msg->payload.config.value);
            }
            break;
            
        case MSG_ACK:
            // Process acknowledgment (could be used for reliability)
            break;
            
        case MSG_ERROR:
            LOG_WRN("Received error from base: code=0x%02X, context=0x%02X",
                    msg->payload.error.error_code, msg->payload.error.context);
            break;
            
        default:
            LOG_WRN("Unhandled message type: 0x%02X", msg->header.message_type);
            break;
    }
    
    // Send acknowledgment for all received messages except ACKs
    if (msg->header.message_type != MSG_ACK) {
        send_ack(msg->header.sequence);
    }
}

/**
 * @brief Process a received byte in the message state machine
 * 
 * @param byte Received byte
 * @return true if a complete message was processed, false otherwise
 */
static bool process_byte(uint8_t byte) {
    static enum {
        WAIT_START,
        RX_HEADER,
        RX_PAYLOAD,
        RX_CHECKSUM
    } state = WAIT_START;
    
    static uint8_t bytes_needed = 0;
    
    switch (state) {
        case WAIT_START:
            if (byte == PROTOCOL_START_BYTE) {
                // Reset buffer and start receiving message
                rx_pos = 0;
                rx_buffer[rx_pos++] = byte;
                state = RX_HEADER;
                bytes_needed = sizeof(message_header_t) - 1; // -1 because we already got the start byte
            }
            break;
            
        case RX_HEADER:
            rx_buffer[rx_pos++] = byte;
            bytes_needed--;
            
            if (bytes_needed == 0) {
                // Header complete, extract message length
                memcpy(&rx_message, rx_buffer, sizeof(message_header_t));
                
                // Validate message length
                if (rx_message.header.length > (MAX_MESSAGE_SIZE - sizeof(message_header_t) - 1)) {
                    LOG_ERR("Invalid message length: %d", rx_message.header.length);
                    state = WAIT_START;
                    return false;
                }
                
                // Start receiving payload
                state = RX_PAYLOAD;
                bytes_needed = rx_message.header.length;
                
                // If no payload, go directly to checksum
                if (bytes_needed == 0) {
                    state = RX_CHECKSUM;
                    bytes_needed = 1;
                }
            }
            break;
            
        case RX_PAYLOAD:
            rx_buffer[rx_pos++] = byte;
            bytes_needed--;
            
            if (bytes_needed == 0) {
                // Payload complete, start receiving checksum
                state = RX_CHECKSUM;
                bytes_needed = 1;
            }
            break;
            
        case RX_CHECKSUM:
            rx_buffer[rx_pos++] = byte;
            
            // Message complete, copy to message structure
            memcpy(&rx_message, rx_buffer, sizeof(message_header_t) + rx_message.header.length);
            rx_message.payload.raw[rx_message.header.length] = byte; // Checksum
            
            // Process the message
            process_message(&rx_message);
            
            // Reset for next message
            state = WAIT_START;
            return true;
    }
    
    return false;
}

/**
 * @brief Process received messages
 * 
 * Should be called regularly to process any incoming messages
 * 
 * @return true if a message was processed, false otherwise
 */
bool uart_protocol_process_messages(void) {
    // Not needed with interrupt-driven implementation
    // The uart_cb function handles all received data
    return false;
}

/**
 * @brief UART interrupt callback function
 * 
 * @param dev UART device
 * @param user_data User data pointer (not used)
 */
static void uart_cb(const struct device *dev, void *user_data) {
    if (!uart_irq_update(dev)) {
        return;
    }
    
    if (uart_irq_rx_ready(dev)) {
        uint8_t byte;
        
        while (uart_fifo_read(dev, &byte, 1) == 1) {
            process_byte(byte);
        }
    }
}

/**
 * @brief Sets the callback function for handling configuration requests
 * 
 * @param callback Function to be called when configuration requests are received
 */
void uart_protocol_set_config_callback(void (*callback)(uint8_t param, int32_t value)) {
    config_callback = callback;
}
```

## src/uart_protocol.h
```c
/**
 * @file uart_protocol.h
 * @brief UART communication protocol for sensor node
 */

#ifndef UART_PROTOCOL_H
#define UART_PROTOCOL_H

#include <stdbool.h>
#include <zephyr/device.h>
#include "protocol.h"

// Function prototypes
bool uart_protocol_init(const struct device *uart_dev);

/**
 * @brief Send sensor data over UART
 * 
 * @param sensor_type Type of sensor (SENSOR_LIGHT, SENSOR_TEMPERATURE, etc.)
 * @param value Sensor value (scaled by 100 for floating point values)
 * @return true if sent successfully, false otherwise
 */
bool uart_protocol_send_sensor_data(uint8_t sensor_type, int32_t value);

/**
 * @brief Send interrupt notification over UART
 * 
 * @param interrupt_type Type of interrupt (INT_HIGH_TEMPERATURE, etc.)
 * @param value Current value that triggered the interrupt
 * @param threshold Threshold that was crossed
 * @return true if sent successfully, false otherwise
 */
bool uart_protocol_send_interrupt(uint8_t interrupt_type, int32_t value, int32_t threshold);

/**
 * @brief Send error message over UART
 * 
 * @param error_code Error code to send
 * @param context Context-specific data
 * @return true if sent successfully, false otherwise
 */
bool uart_protocol_send_error(uint8_t error_code, uint8_t context);

/**
 * @brief Process received messages
 * 
 * Should be called regularly to process any incoming messages
 * 
 * @return true if a message was processed, false otherwise
 */
bool uart_protocol_process_messages(void);

/**
 * @brief Sets the callback function for handling configuration requests
 * 
 * @param callback Function to be called when configuration requests are received
 */
void uart_protocol_set_config_callback(void (*callback)(uint8_t param, int32_t value));

#endif /* UART_PROTOCOL_H */
```
